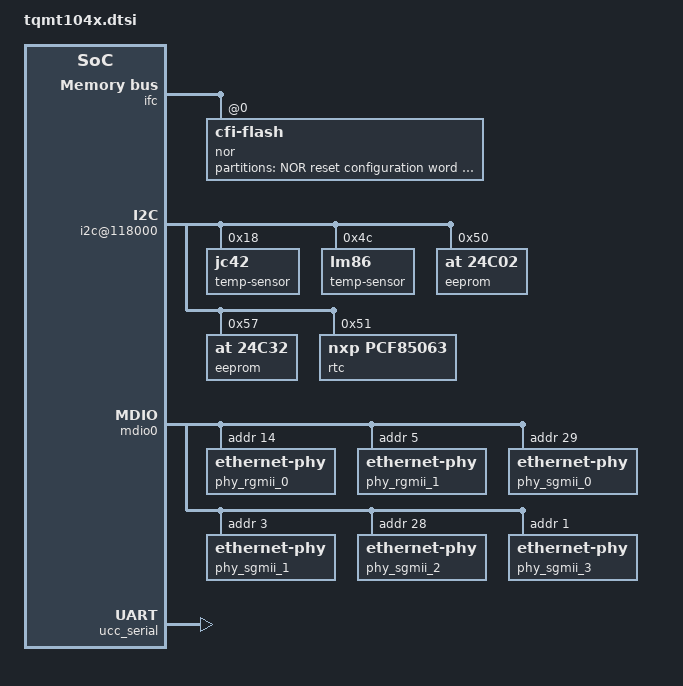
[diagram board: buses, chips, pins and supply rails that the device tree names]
/*
 * TQMT1042 Device Tree Source
 * including starterkit STKTxxxx
 *
 * Copyright 2014 Freescale Semiconductor Inc.
 * Copyright 2016 Stefan Lange <s.lange@gateware.de>
 * Copyright 2019 Max Merchel <Max.Merchel@tq-group.com>
 *
 * Redistribution and use in source and binary forms, with or without
 * modification, are permitted provided that the following conditions are met:
 *     * Redistributions of source code must retain the above copyright
 *	 notice, this list of conditions and the following disclaimer.
 *     * Redistributions in binary form must reproduce the above copyright
 *	 notice, this list of conditions and the following disclaimer in the
 *	 documentation and/or other materials provided with the distribution.
 *     * Neither the name of Freescale Semiconductor nor the
 *	 names of its contributors may be used to endorse or promote products
 *	 derived from this software without specific prior written permission.
 *
 *
 * ALTERNATIVELY, this software may be distributed under the terms of the
 * GNU General Public License ("GPL") as published by the Free Software
 * Foundation, either version 2 of that License or (at your option) any
 * later version.
 *
 * THIS SOFTWARE IS PROVIDED BY Freescale Semiconductor "AS IS" AND ANY
 * EXPRESS OR IMPLIED WARRANTIES, INCLUDING, BUT NOT LIMITED TO, THE IMPLIED
 * WARRANTIES OF MERCHANTABILITY AND FITNESS FOR A PARTICULAR PURPOSE ARE
 * DISCLAIMED. IN NO EVENT SHALL Freescale Semiconductor BE LIABLE FOR ANY
 * DIRECT, INDIRECT, INCIDENTAL, SPECIAL, EXEMPLARY, OR CONSEQUENTIAL DAMAGES
 * (INCLUDING, BUT NOT LIMITED TO, PROCUREMENT OF SUBSTITUTE GOODS OR SERVICES;
 * LOSS OF USE, DATA, OR PROFITS; OR BUSINESS INTERRUPTION) HOWEVER CAUSED AND
 * ON ANY THEORY OF LIABILITY, WHETHER IN CONTRACT, STRICT LIABILITY, OR TORT
 * (INCLUDING NEGLIGENCE OR OTHERWISE) ARISING IN ANY WAY OUT OF THE USE OF THIS
 * SOFTWARE, EVEN IF ADVISED OF THE POSSIBILITY OF SUCH DAMAGE.
 */


/* include ethernet phy header to set rgmii timings in device tree */
#include <dt-bindings/net/ti-dp83867.h>

/ {
	interrupt-parent = <&mpic>;
	#address-cells = <2>;
	#size-cells = <2>;

	aliases {
		phy_rgmii_0 = &phy_rgmii_0;
		phy_rgmii_1 = &phy_rgmii_1;
		phy_sgmii_0 = &phy_sgmii_0;
		phy_sgmii_1 = &phy_sgmii_1;
		phy_sgmii_2 = &phy_sgmii_2;
		phy_sgmii_3 = &phy_sgmii_3;
	};

	reserved-memory {
		#address-cells = <2>;
		#size-cells = <2>;
		ranges;

		bman_fbpr: bman-fbpr {
			size = <0 0x1000000>;
			alignment = <0 0x1000000>;
		};
		qman_fqd: qman-fqd {
			size = <0 0x400000>;
			alignment = <0 0x400000>;
		};
		qman_pfdr: qman-pfdr {
			size = <0 0x2000000>;
			alignment = <0 0x2000000>;
		};
	};

	ifc: localbus@ffe124000 {
		reg = <0xf 0xfe124000 0 0x2000>;
		ranges = <0 0 0xf 0xe8000000 0x08000000>;

		nor@0,0 {
			#address-cells = <1>;
			#size-cells = <1>;
			compatible = "cfi-flash";
			reg = <0x0 0x0 0x8000000>;
			bank-width = <2>;
			device-width = <1>;

			/* reset configuration word */
			partition@0 {
				label = "NOR reset configuration word";
				reg = <0 0x20000>;
			};
			/* 8 MB linux kernel image */
			partition@20000 {
				label = "NOR Linux kernel image";
				reg =<0x20000 0x800000>;
			};
			/* 64 kB flat device tree blob */
			partition@820000 {
				label = "NOR Linux device tree blob";
				reg =<0x820000 0x20000>;
			};
			/* 64 MB root file system image */
			partition@840000 {
				label = "NOR Linux root file system image";
				reg =<0x840000 0x4000000>;
			};
			/* 54 MB spare partition */
			partition@4840000 {
				label = "NOR spare partition";
				reg =<0x4840000 0x3600000>;
			};
			/* 64 kB frame manager microcode +
			 *  64 kB quicc engine microcode
			 * common partition because sector boundary
			 * > default offset
			 * frame manager microcode @ 0xeff00000, size 0x10000
			 * quicc engine microcode @ 0xeff10000, size 0x10000
			 */
			partition@0x7f00000 {
				label = "NOR frame manager microcode + quicc engine microcode";
				reg = <0x7f00000 0x20000>;
			};
			/* 64 kB u-boot environment variables */
			partition@0x7f20000 {
				label = "NOR u-boot environment variables";
				reg = <0x7f20000 0x20000>;
			};
			/* 768 kB u-boot bootloader image */
			partition@0x7f40000 {
				label = "NOR u-boot bootloader image";
				reg = <0x7f40000 0xc0000>;
			};
		};
	};

	memory {
		device_type = "memory";
	};

	/* debug control and status register */
	dcsr: dcsr@f00000000 {
		ranges = <0x00000000 0xf 0x00000000 0x01072000>;
	};

	/* buffer manager (part of the data-path acceleration architecture) */
	bportals: bman-portals@ff4000000 {
		ranges = <0x0 0xf 0xf4000000 0x2000000>;
	};

	qportals: qman-portals@ff6000000 {
		ranges = <0x0 0xf 0xf6000000 0x2000000>;
	};

	soc: soc@ffe000000 {
		ranges = <0x00000000 0xf 0xfe000000 0x1000000>;
		reg = <0xf 0xfe000000 0 0x00001000>;

		/* I2C1 */
		 i2c@118000 {
			/* SE97B temp sensor */
			temp-sensor@18 {
				compatible = "jc42";
				reg = <0x18>;
			};
			/* SA56000 temp sensor */
			temp-sensor@4c {
				compatible = "lm86";
				reg = <0x4c>;
			};
			/* config eeprom */
			eeprom@50 {
				compatible = "at,24c02";
				reg = <0x50>;
				pagesize = <64>;
			};
			/* data eeprom  */
			eeprom@57 {
				compatible = "at,24c32";
				reg = <0x57>;
				pagesize = <64>;
			};
			/* RTC PCF85063A */
			rtc@51 {
				compatible = "nxp,pcf85063";
				reg = <0x51>;
			};
		};

		fman0: fman@400000 {
			sleep = <&rcpm 0x00000008>;

			/* MAC1: SGMII 88E11340S
			 * STKT allows SGMII 88E11340S or QSGMII 88E11340S
			 * Only SGMII 88E11340S implemented as T1042
			 * provides no QSGMII SerDes
			 */
			enet0: ethernet@e0000 {
				phy-handle = <&phy_sgmii_0>;
				phy-connection-type = "sgmii";
			};

			/* MAC2: SGMII DP83867 */
			enet1: ethernet@e2000 {
				phy-handle = <&phy_sgmii_1>;
				phy-connection-type = "sgmii";
			};

			/* MAC3: SGMII 88E11340S */
			enet2: ethernet@e4000 {
				phy-handle = <&phy_sgmii_2>;
				phy-connection-type = "sgmii";
			};

			/* MAC4: RGMII DP83867 or SGMII DP83867
			 * STKT allows RGMII DP83867 or SGMII DP83867
			 * RGMII DP83867 implemented in this device tree
			 * for SGMII DP83867 see tqmt1042_serdes8e.dts
			 */
			enet3: ethernet@e6000 {
				phy-handle = <&phy_rgmii_0>;
				phy-connection-type = "rgmii-id";
				external-phy-connection-type = "rgmii-id";
			};

			/* MAC5: RGMII DP83867 */
			enet4: ethernet@e8000 {
				phy-handle = <&phy_rgmii_1>;
				phy-connection-type = "rgmii-id";
				external-phy-connection-type = "rgmii-id";
			};

			/* external, dedicated MDIO */
			mdio0: mdio@fc000 {
				phy_rgmii_0: ethernet-phy@0e {
					reg = <0x0e>;
					ti,tx-internal-delay = <DP83867_RGMIIDCTL_2_50_NS>;
					ti,rx-internal-delay = <DP83867_RGMIIDCTL_2_00_NS>;
					ti,fifo-depth = <DP83867_PHYCR_FIFO_DEPTH_4_B_NIB>;
					ti,clk-output-sel = <DP83867_CLK_O_SEL_REF_CLK>;
				};
				phy_rgmii_1: ethernet-phy@05 {
					reg = <0x05>;
					ti,tx-internal-delay = <DP83867_RGMIIDCTL_2_50_NS>;
					ti,rx-internal-delay = <DP83867_RGMIIDCTL_2_00_NS>;
					ti,fifo-depth = <DP83867_PHYCR_FIFO_DEPTH_4_B_NIB>;
					ti,clk-output-sel = <DP83867_CLK_O_SEL_REF_CLK>;
				};
				phy_sgmii_0: ethernet-phy@1D {
					reg = <0x1D>;
				};
				phy_sgmii_1: ethernet-phy@03 {
					reg = <0x03>;
					ti,tx-internal-delay = <DP83867_RGMIIDCTL_2_50_NS>;
					ti,rx-internal-delay = <DP83867_RGMIIDCTL_2_00_NS>;
					ti,fifo-depth = <DP83867_PHYCR_FIFO_DEPTH_4_B_NIB>;
					ti,clk-output-sel = <DP83867_CLK_O_SEL_REF_CLK>;
				};
				phy_sgmii_2: ethernet-phy@1C {
					reg = <0x1C>;
				};
				phy_sgmii_3: ethernet-phy@01 {
					reg = <0x01>;
					ti,tx-internal-delay = <DP83867_RGMIIDCTL_2_50_NS>;
					ti,rx-internal-delay = <DP83867_RGMIIDCTL_2_00_NS>;
					ti,fifo-depth = <DP83867_PHYCR_FIFO_DEPTH_4_B_NIB>;
					ti,clk-output-sel = <DP83867_CLK_O_SEL_REF_CLK>;
				};
			};
		};
	};

	/* bp dts definition is borrowed from other USDPAA dts */
	bp6: buffer-pool@6 {
		compatible = "fsl,t1040-bpool", "fsl,bpool";
		fsl,bpid = <6>;
		fsl,bpool-ethernet-cfg = <0 0 0 1728 0 0xfeedabba>;
		fsl,bpool-thresholds = <0x100 0x300 0x0 0x0>;
	};

	qe: qe@ffe140000 {
		ranges = <0x0 0xf 0xfe140000 0x40000>;
		reg = <0xf 0xfe140000 0 0x480>;
		brg-frequency = <0>;
		bus-frequency = <0>;

		si1: si@700 {
			compatible = "fsl,t1040-qe-si";
			reg = <0x700 0x80>;
		};

		siram1: siram@1000 {
			compatible = "fsl,t1040-qe-siram";
			reg = <0x1000 0x800>;
		};

		ucc_hdlc: ucc@2000 {
			compatible = "fsl,ucc-hdlc";
			rx-clock-name = "clk8";
			tx-clock-name = "clk9";
			fsl,rx-sync-clock = "rsync_pin";
			fsl,tx-sync-clock = "tsync_pin";
			fsl,tx-timeslot-mask = <0xfffffffe>;
			fsl,rx-timeslot-mask = <0xfffffffe>;
			fsl,tdm-framer-type = "e1";
			fsl,tdm-id = <0>;
			fsl,siram-entry-id = <0>;
			fsl,tdm-interface;
		};

		ucc_serial: ucc@2200 {
			compatible = "fsl,t1040-ucc-uart";
			port-number = <0>;
			rx-clock-name = "brg2";
			tx-clock-name = "brg2";
		};
	};
};
